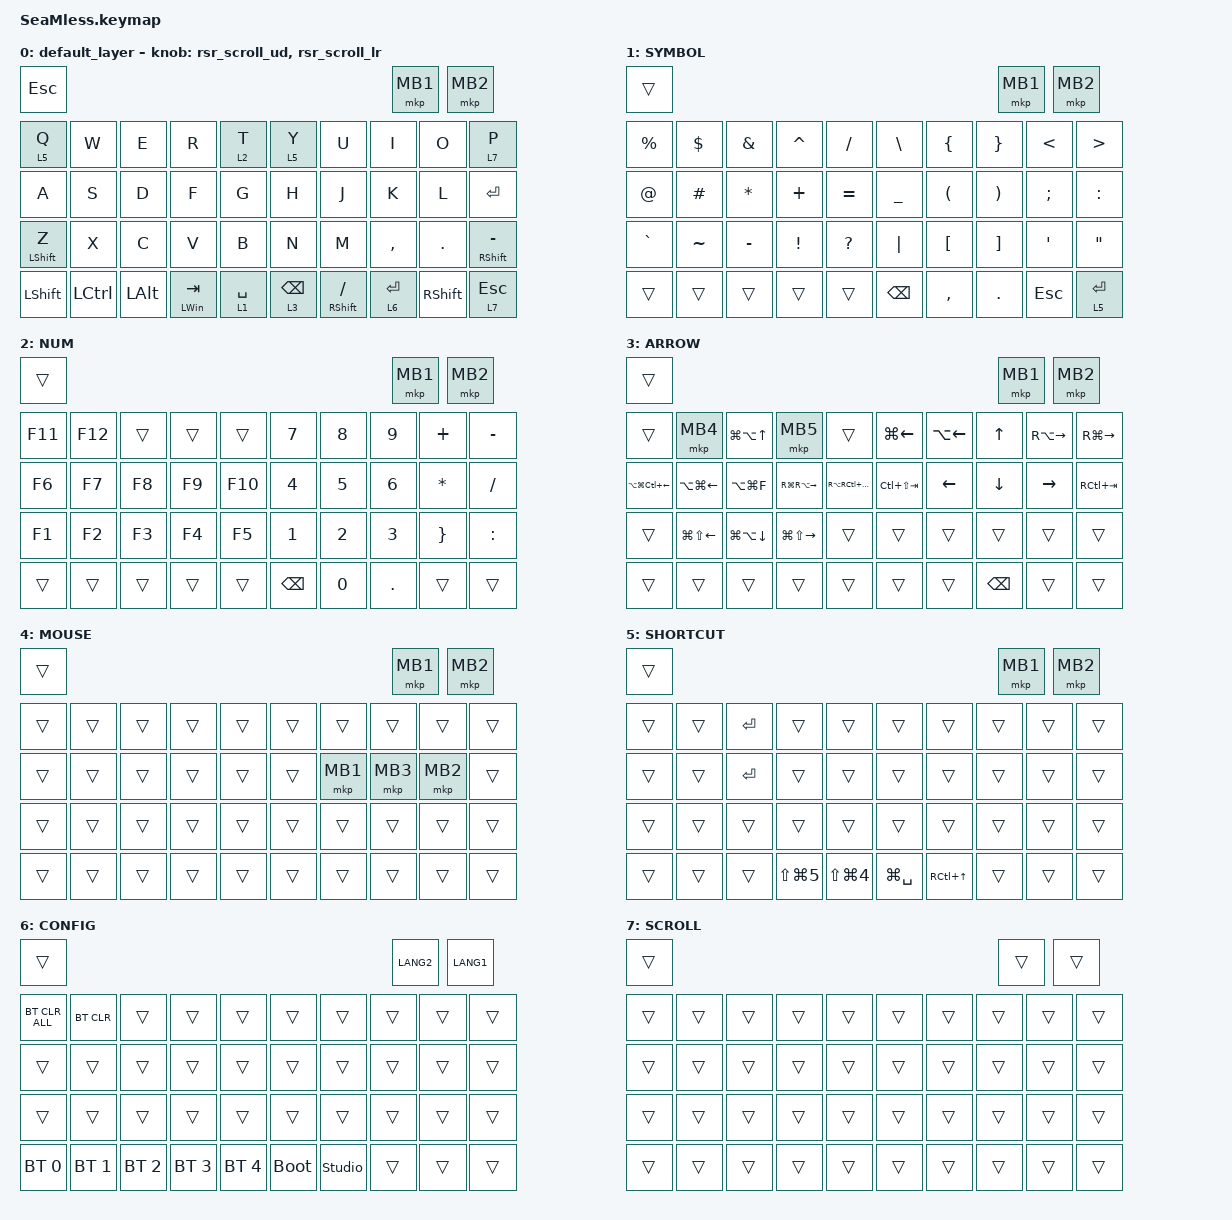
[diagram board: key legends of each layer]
#include <behaviors/runtime-sensor-rotate.dtsi>
#include <behaviors/runtime_macro.dtsi>
#include <behaviors.dtsi>
#include <dt-bindings/zmk/bt.h>
#include <dt-bindings/zmk/keys.h>
#include <dt-bindings/zmk/pointing.h>

#undef ZMK_POINTING_DEFAULT_SCRL_VAL
#define ZMK_POINTING_DEFAULT_SCRL_VAL 120

&mt {
    flavor = "balanced";
    quick-tap-ms = <300>;
};

&lt {
    flavor = "balanced";
    quick-tap-ms = <300>;
};

/ {
    runtime_combo_defaults {
        compatible = "cormoran,runtime-combo-defaults";

        middle-click {
            slot = <0>;
            bindings = <&mkp MB3>;
            key-positions = <41 42>;
            display-name = "Middle Click";
        };

        tab {
            slot = <1>;
            bindings = <&kp TAB>;
            key-positions = <10 11>;
            layers = <0>;
            display-name = "Tab";
        };

        backspace {
            slot = <2>;
            bindings = <&kp BACKSPACE>;
            key-positions = <8 9>;
            layers = <0>;
            display-name = "Backspace";
        };

        input_eisu {
            slot = <3>;
            bindings = <&kp LANG2>;
            key-positions = <34 24>;
            layers = <0>;
            display-name = "Eisu";
        };

        input_kana {
            slot = <4>;
            bindings = <&kp LANG1>;
            key-positions = <35 25>;
            layers = <0>;
            display-name = "Kana";
        };

        escape {
            slot = <5>;
            bindings = <&kp ESC>;
            key-positions = <1 0>;
            layers = <0>;
            display-name = "Escape";
        };
    };

    macros {
        to_layer_0: to_layer_0 {
            compatible = "zmk,behavior-macro-one-param";
            #binding-cells = <1>;
            bindings = <&to 0 &macro_param_1to1 &kp MACRO_PLACEHOLDER>;
            label = "TO_LAYER_0";
        };
    };

    behaviors {
        lt_to_layer_0: lt_to_layer_0 {
            compatible = "zmk,behavior-hold-tap";
            label = "LAYER_TAP_TO_0";
            bindings = <&mo>, <&to_layer_0>;
            #binding-cells = <2>;
            tapping-term-ms = <200>;
        };

        rsr_scroll_ud: rsr_scroll_ud {
            compatible = "zmk,behavior-runtime-sensor-rotate";
            #sensor-binding-cells = <0>;
            tap-ms = <20>;
            cw-binding = <&msc SCRL_UP>;
            ccw-binding = <&msc SCRL_DOWN>;
        };

        rsr_scroll_lr: rsr_scroll_lr {
            compatible = "zmk,behavior-runtime-sensor-rotate";
            #sensor-binding-cells = <0>;
            tap-ms = <20>;
            cw-binding = <&msc SCRL_RIGHT>;
            ccw-binding = <&msc SCRL_LEFT>;
        };
    };

    keymap {
        compatible = "zmk,keymap";

        default_layer {
            bindings = <
&lt 5 Q           &kp W      &kp E         &kp R             &lt 2 T      &lt 5 Y          &kp U                  &kp I        &kp O       &lt 7 P
&kp A             &kp S      &kp D         &kp F             &kp G        &kp H            &kp J                  &kp K        &kp L       &kp ENTER
&mt LEFT_SHIFT Z  &kp X      &kp C         &kp V             &kp B        &kp N            &kp M                  &kp COMMA    &kp PERIOD  &mt RIGHT_SHIFT MINUS
&kp LEFT_SHIFT    &kp LCTRL  &kp LEFT_ALT  &mt LEFT_WIN TAB  &lt 1 SPACE  &lt 3 BACKSPACE  &mt RIGHT_SHIFT SLASH  &lt 6 ENTER  &kp RIGHT_SHIFT  &lt 7 ESCAPE
                                                                          &kp ESC          &mkp MB1     &mkp MB2
            >;

            sensor-bindings = <&rsr_scroll_ud &rsr_scroll_lr>;
        };

        SYMBOL {
            bindings = <
&kp PRCNT  &kp DOLLAR  &kp AMPERSAND  &kp CARET        &kp FSLH      &kp BSLH        &kp LEFT_BRACE        &kp RIGHT_BRACE        &kp LESS_THAN  &kp GREATER_THAN
&kp AT     &kp HASH    &kp ASTERISK   &kp PLUS         &kp EQUAL     &kp UNDERSCORE  &kp LEFT_PARENTHESIS  &kp RIGHT_PARENTHESIS  &kp SEMI       &kp COLON
&kp GRAVE  &kp TILDE   &kp MINUS      &kp EXCLAMATION  &kp QUESTION  &kp PIPE        &kp LBKT              &kp RBKT               &kp SQT        &kp DOUBLE_QUOTES
&trans     &trans      &trans         &trans           &trans        &kp BACKSPACE   &kp COMMA             &kp PERIOD             &kp ESC        &lt 5 ENTER
                                                                     &trans          &mkp MB1        &mkp MB2
            >;
        };

        NUM {
            bindings = <
&kp F11  &kp F12  &trans  &trans  &trans   &kp N7         &kp NUMBER_8  &kp NUMBER_9  &kp PLUS         &kp MINUS
&kp F6   &kp F7   &kp F8  &kp F9  &kp F10  &kp NUMBER_4   &kp NUMBER_5  &kp NUMBER_6  &kp ASTERISK     &kp SLASH
&kp F1   &kp F2   &kp F3  &kp F4  &kp F5   &kp NUMBER_1   &kp NUMBER_2  &kp NUMBER_3  &kp RIGHT_BRACE  &kp COLON
&trans   &trans   &trans  &trans  &trans   &kp BACKSPACE  &kp NUMBER_0  &kp PERIOD    &trans           &trans
                                           &trans         &mkp MB1       &mkp MB2
            >;
        };

        ARROW {
            bindings = <
&trans                      &mkp MB4                &kp LG(LA(UP_ARROW))  &mkp MB5                 &trans                       &kp LG(LEFT_ARROW)  &kp LA(LEFT_ARROW)  &kp UP_ARROW    &kp RA(RIGHT_ARROW)  &kp RG(RIGHT_ARROW)
&kp LA(LG(LC(LEFT_ARROW)))  &kp LA(LG(LEFT_ARROW))  &kp LA(LG(F))         &kp RG(RA(RIGHT_ARROW))  &kp RA(RC(RG(RIGHT_ARROW)))  &kp LC(LS(TAB))     &kp LEFT_ARROW      &kp DOWN_ARROW  &kp RIGHT_ARROW      &kp RC(TAB)
&trans                      &kp LG(LS(LEFT_ARROW))  &kp LG(LA(DOWN))      &kp LG(LS(RIGHT_ARROW))  &trans                       &trans              &trans              &trans          &trans               &trans
&trans                      &trans                  &trans                &trans                   &trans                       &trans              &trans              &kp BACKSPACE   &trans               &trans
                                                                                                                                &trans             &mkp MB1            &mkp MB2
            >;
        };

        MOUSE {
            bindings = <
&trans  &trans  &trans  &trans  &trans  &trans    &trans    &trans    &trans    &trans
&trans  &trans  &trans  &trans  &trans  &trans    &mkp MB1  &mkp MB3  &mkp MB2  &trans
&trans  &trans  &trans  &trans  &trans  &trans    &trans    &trans    &trans    &trans
&trans  &trans  &trans  &trans  &trans  &trans    &trans    &trans    &trans    &trans
                                        &trans    &mkp MB1  &mkp MB2
            >;
        };

        SHORTCUT {
            bindings = <
&trans  &trans  &kp ENTER  &trans          &trans          &trans              &trans            &trans  &trans  &trans
&trans  &trans  &kp ENTER  &trans          &trans          &trans              &trans            &trans  &trans  &trans
&trans  &trans  &trans     &trans          &trans          &trans              &trans            &trans  &trans  &trans
&trans  &trans  &trans     &kp LS(LG(N5))  &kp LS(LG(N4))  &kp LG(SPACE)       &kp RC(UP)        &trans  &trans  &trans
                                                           &trans             &mkp MB1            &mkp MB2
            >;
        };

        CONFIG {
            bindings = <
&bt BT_CLR_ALL  &bt BT_CLR    &trans        &trans        &trans        &trans       &trans          &trans  &trans  &trans
&trans          &trans        &trans        &trans        &trans        &trans       &trans          &trans  &trans  &trans
&trans          &trans        &trans        &trans        &trans        &trans       &trans          &trans  &trans  &trans
&bt BT_SEL 0    &bt BT_SEL 1  &bt BT_SEL 2  &bt BT_SEL 3  &bt BT_SEL 4  &bootloader  &studio_unlock  &trans  &trans  &trans
                                                                        &trans       &kp LANG2    &kp LANG1
            >;
        };

        SCROLL {
            bindings = <
&trans  &trans  &trans  &trans  &trans  &trans  &trans  &trans  &trans  &trans
&trans  &trans  &trans  &trans  &trans  &trans  &trans  &trans  &trans  &trans
&trans  &trans  &trans  &trans  &trans  &trans  &trans  &trans  &trans  &trans
&trans  &trans  &trans  &trans  &trans  &trans  &trans  &trans  &trans  &trans
                                        &trans  &trans  &trans
            >;
        };
    };
};
